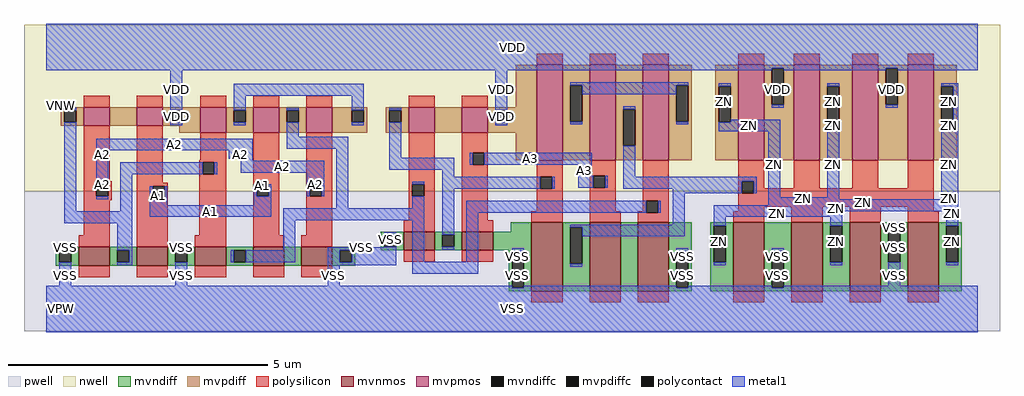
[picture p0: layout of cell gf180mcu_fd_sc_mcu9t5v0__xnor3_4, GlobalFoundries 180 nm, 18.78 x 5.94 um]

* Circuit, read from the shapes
.subckt gf180mcu_fd_sc_mcu9t5v0__xnor3_4 A1 A2 A3 ZN VDD VNW VPW VSS
XM1 n1 A2 VSS VPW nfet_06v0 w=0.36u l=0.6u
XM2 VSS A1 n1 VPW nfet_06v0 w=0.36u l=0.6u
XM3 n2 n1 VSS VPW nfet_06v0 w=0.36u l=0.6u
XM4 n3 A1 n2 VPW nfet_06v0 w=0.36u l=0.6u
XM5 VSS A2 n3 VPW nfet_06v0 w=0.36u l=0.6u
XM6 n4 n2 VSS VPW nfet_06v0 w=0.36u l=0.6u
XM7 VSS A3 n4 VPW nfet_06v0 w=0.36u l=0.6u
XM8 n5 n4 VSS VPW nfet_06v0 w=1.32u l=0.6u
XM9 n6 A3 n5 VPW nfet_06v0 w=1.32u l=0.6u
XM10 VSS n2 n6 VPW nfet_06v0 w=1.32u l=0.6u
XM11 VSS n5 ZN VPW nfet_06v0 w=1.32u l=0.6u m=4
XM12 n7 A2 n1 VNW pfet_06v0 w=0.36u l=0.5u
XM13 VDD A1 n7 VNW pfet_06v0 w=0.36u l=0.5u
XM14 n8 n1 VDD VNW pfet_06v0 w=0.495u l=0.5u
XM15 n2 A1 n8 VNW pfet_06v0 w=0.495u l=0.5u
XM16 n8 A2 n2 VNW pfet_06v0 w=0.495u l=0.5u
XM17 n9 n2 n4 VNW pfet_06v0 w=0.495u l=0.5u
XM18 VDD A3 n9 VNW pfet_06v0 w=0.495u l=0.5u
XM19 n10 n4 VDD VNW pfet_06v0 w=1.83u l=0.5u
XM20 n5 A3 n10 VNW pfet_06v0 w=1.83u l=0.5u
XM21 n10 n2 n5 VNW pfet_06v0 w=1.83u l=0.5u
XM22 VDD n5 ZN VNW pfet_06v0 w=1.83u l=0.5u m=4
.ends

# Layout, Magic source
magic
tech gf180mcuD
magscale 1 10
<< nwell >>
rect -86 453 3670 1094
<< pwell >>
rect -86 -86 3670 453
<< mvnmos >>
rect 124 167 244 239
rect 348 167 468 239
rect 572 167 692 239
rect 796 167 916 239
rect 980 167 1100 239
rect 1375 226 1495 298
rect 1599 226 1719 298
rect 1867 69 1987 333
rect 2091 69 2211 333
rect 2275 69 2395 333
rect 2643 69 2763 333
rect 2867 69 2987 333
rect 3091 69 3211 333
rect 3315 69 3435 333
<< mvpmos >>
rect 144 705 244 777
rect 348 705 448 777
rect 592 678 692 777
rect 796 678 896 777
rect 1000 678 1100 777
rect 1395 678 1495 777
rect 1599 678 1699 777
rect 1887 573 1987 939
rect 2091 573 2191 939
rect 2295 573 2395 939
rect 2663 573 2763 939
rect 2877 573 2977 939
rect 3101 573 3201 939
rect 3315 573 3415 939
<< mvndiff >>
rect 1787 298 1867 333
rect 1287 285 1375 298
rect 1287 239 1300 285
rect 1346 239 1375 285
rect 36 226 124 239
rect 36 180 49 226
rect 95 180 124 226
rect 36 167 124 180
rect 244 226 348 239
rect 244 180 273 226
rect 319 180 348 226
rect 244 167 348 180
rect 468 226 572 239
rect 468 180 497 226
rect 543 180 572 226
rect 468 167 572 180
rect 692 226 796 239
rect 692 180 721 226
rect 767 180 796 226
rect 692 167 796 180
rect 916 167 980 239
rect 1100 226 1188 239
rect 1287 226 1375 239
rect 1495 285 1599 298
rect 1495 239 1524 285
rect 1570 239 1599 285
rect 1495 226 1599 239
rect 1719 226 1867 298
rect 1100 180 1129 226
rect 1175 180 1188 226
rect 1779 222 1867 226
rect 1100 167 1188 180
rect 1779 82 1792 222
rect 1838 82 1867 222
rect 1779 69 1867 82
rect 1987 314 2091 333
rect 1987 174 2016 314
rect 2062 174 2091 314
rect 1987 69 2091 174
rect 2211 69 2275 333
rect 2395 222 2483 333
rect 2395 82 2424 222
rect 2470 82 2483 222
rect 2395 69 2483 82
rect 2555 320 2643 333
rect 2555 180 2568 320
rect 2614 180 2643 320
rect 2555 69 2643 180
rect 2763 222 2867 333
rect 2763 82 2792 222
rect 2838 82 2867 222
rect 2763 69 2867 82
rect 2987 320 3091 333
rect 2987 180 3016 320
rect 3062 180 3091 320
rect 2987 69 3091 180
rect 3211 320 3315 333
rect 3211 180 3240 320
rect 3286 180 3315 320
rect 3211 69 3315 180
rect 3435 320 3523 333
rect 3435 180 3464 320
rect 3510 180 3523 320
rect 3435 69 3523 180
<< mvpdiff >>
rect 1807 777 1887 939
rect 56 764 144 777
rect 56 718 69 764
rect 115 718 144 764
rect 56 705 144 718
rect 244 705 348 777
rect 448 764 592 777
rect 448 718 477 764
rect 523 718 592 764
rect 448 705 592 718
rect 512 678 592 705
rect 692 764 796 777
rect 692 718 721 764
rect 767 718 796 764
rect 692 678 796 718
rect 896 764 1000 777
rect 896 718 925 764
rect 971 718 1000 764
rect 896 678 1000 718
rect 1100 764 1235 777
rect 1100 718 1176 764
rect 1222 718 1235 764
rect 1100 678 1235 718
rect 1307 764 1395 777
rect 1307 718 1320 764
rect 1366 718 1395 764
rect 1307 678 1395 718
rect 1495 678 1599 777
rect 1699 764 1887 777
rect 1699 718 1728 764
rect 1774 718 1887 764
rect 1699 678 1887 718
rect 1807 573 1887 678
rect 1987 861 2091 939
rect 1987 721 2016 861
rect 2062 721 2091 861
rect 1987 573 2091 721
rect 2191 769 2295 939
rect 2191 629 2220 769
rect 2266 629 2295 769
rect 2191 573 2295 629
rect 2395 861 2483 939
rect 2395 721 2424 861
rect 2470 721 2483 861
rect 2395 573 2483 721
rect 2575 858 2663 939
rect 2575 718 2588 858
rect 2634 718 2663 858
rect 2575 573 2663 718
rect 2763 926 2877 939
rect 2763 786 2792 926
rect 2838 786 2877 926
rect 2763 573 2877 786
rect 2977 858 3101 939
rect 2977 718 3006 858
rect 3052 718 3101 858
rect 2977 573 3101 718
rect 3201 926 3315 939
rect 3201 786 3230 926
rect 3276 786 3315 926
rect 3201 573 3315 786
rect 3415 858 3503 939
rect 3415 718 3444 858
rect 3490 718 3503 858
rect 3415 573 3503 718
<< mvndiffc >>
rect 1300 239 1346 285
rect 49 180 95 226
rect 273 180 319 226
rect 497 180 543 226
rect 721 180 767 226
rect 1524 239 1570 285
rect 1129 180 1175 226
rect 1792 82 1838 222
rect 2016 174 2062 314
rect 2424 82 2470 222
rect 2568 180 2614 320
rect 2792 82 2838 222
rect 3016 180 3062 320
rect 3240 180 3286 320
rect 3464 180 3510 320
<< mvpdiffc >>
rect 69 718 115 764
rect 477 718 523 764
rect 721 718 767 764
rect 925 718 971 764
rect 1176 718 1222 764
rect 1320 718 1366 764
rect 1728 718 1774 764
rect 2016 721 2062 861
rect 2220 629 2266 769
rect 2424 721 2470 861
rect 2588 718 2634 858
rect 2792 786 2838 926
rect 3006 718 3052 858
rect 3230 786 3276 926
rect 3444 718 3490 858
<< polysilicon >>
rect 1887 939 1987 983
rect 2091 939 2191 983
rect 2295 939 2395 983
rect 2663 939 2763 983
rect 2877 939 2977 983
rect 3101 939 3201 983
rect 3315 939 3415 983
rect 144 777 244 821
rect 348 777 448 821
rect 592 777 692 821
rect 796 777 896 821
rect 1000 777 1100 821
rect 1395 777 1495 821
rect 1599 777 1699 821
rect 144 491 244 705
rect 144 479 251 491
rect 144 433 192 479
rect 238 433 251 479
rect 144 419 251 433
rect 348 485 448 705
rect 592 573 692 678
rect 588 564 692 573
rect 588 518 601 564
rect 647 518 692 564
rect 348 472 468 485
rect 348 426 409 472
rect 455 426 468 472
rect 144 283 244 419
rect 124 239 244 283
rect 348 239 468 426
rect 588 283 692 518
rect 572 239 692 283
rect 796 479 896 678
rect 796 433 809 479
rect 855 433 896 479
rect 796 283 896 433
rect 1000 479 1100 678
rect 1000 433 1013 479
rect 1059 433 1100 479
rect 1000 283 1100 433
rect 1395 479 1495 678
rect 1395 433 1408 479
rect 1454 433 1495 479
rect 1395 342 1495 433
rect 1375 298 1495 342
rect 1599 601 1699 678
rect 1599 555 1640 601
rect 1686 555 1699 601
rect 1599 342 1699 555
rect 1887 509 1987 573
rect 1887 463 1900 509
rect 1946 463 1987 509
rect 1887 377 1987 463
rect 1599 298 1719 342
rect 1867 333 1987 377
rect 2091 512 2191 573
rect 2091 466 2104 512
rect 2150 466 2191 512
rect 2091 377 2191 466
rect 2295 417 2395 573
rect 2295 377 2308 417
rect 2091 333 2211 377
rect 2275 371 2308 377
rect 2354 371 2395 417
rect 2663 492 2763 573
rect 2663 446 2676 492
rect 2722 465 2763 492
rect 2877 465 2977 573
rect 3101 465 3201 573
rect 3315 465 3415 573
rect 2722 446 3415 465
rect 2663 393 3415 446
rect 2663 377 2763 393
rect 2275 333 2395 371
rect 2643 333 2763 377
rect 2867 333 2987 393
rect 3091 333 3211 393
rect 3315 377 3415 393
rect 3315 333 3435 377
rect 796 239 916 283
rect 980 239 1100 283
rect 1375 182 1495 226
rect 1599 182 1719 226
rect 124 123 244 167
rect 348 123 468 167
rect 572 123 692 167
rect 796 123 916 167
rect 980 123 1100 167
rect 1867 25 1987 69
rect 2091 25 2211 69
rect 2275 25 2395 69
rect 2643 25 2763 69
rect 2867 25 2987 69
rect 3091 25 3211 69
rect 3315 25 3435 69
<< polycontact >>
rect 192 433 238 479
rect 601 518 647 564
rect 409 426 455 472
rect 809 433 855 479
rect 1013 433 1059 479
rect 1408 433 1454 479
rect 1640 555 1686 601
rect 1900 463 1946 509
rect 2104 466 2150 512
rect 2308 371 2354 417
rect 2676 446 2722 492
<< metal1 >>
rect 0 926 3584 1098
rect 0 918 2792 926
rect 69 764 115 775
rect 69 376 115 718
rect 477 764 523 918
rect 477 707 523 718
rect 721 821 1222 867
rect 721 764 767 821
rect 721 707 767 718
rect 925 764 971 775
rect 925 663 971 718
rect 1176 764 1222 821
rect 1176 707 1222 718
rect 1320 764 1366 775
rect 192 610 794 656
rect 925 617 1162 663
rect 192 479 238 610
rect 702 578 794 610
rect 748 571 794 578
rect 192 422 238 433
rect 284 518 601 564
rect 647 518 658 564
rect 748 525 1070 571
rect 284 376 330 518
rect 1002 479 1070 525
rect 69 330 330 376
rect 398 426 409 472
rect 455 426 466 472
rect 398 400 466 426
rect 798 433 809 479
rect 855 433 866 479
rect 1002 433 1013 479
rect 1059 433 1070 479
rect 798 400 866 433
rect 398 354 866 400
rect 1116 388 1162 617
rect 1320 582 1366 718
rect 1728 764 1774 918
rect 1728 707 1774 718
rect 2016 861 2470 872
rect 2062 826 2424 861
rect 2016 710 2062 721
rect 2220 769 2266 780
rect 2424 710 2470 721
rect 2588 858 2634 869
rect 2838 918 3230 926
rect 2792 775 2838 786
rect 3006 858 3052 869
rect 2634 718 2825 729
rect 2588 683 2825 718
rect 1320 536 1570 582
rect 1629 555 1640 601
rect 1686 555 2098 601
rect 1524 509 1570 536
rect 2046 512 2098 555
rect 1408 479 1454 490
rect 1408 388 1454 433
rect 1116 387 1454 388
rect 49 226 95 237
rect 49 90 95 180
rect 273 226 330 330
rect 912 342 1454 387
rect 912 341 1126 342
rect 319 180 330 226
rect 273 169 330 180
rect 497 226 543 237
rect 912 226 958 341
rect 1300 285 1346 296
rect 1300 237 1346 239
rect 710 180 721 226
rect 767 180 958 226
rect 1083 226 1346 237
rect 1083 180 1129 226
rect 1175 180 1346 226
rect 497 90 543 180
rect 1083 169 1346 180
rect 1408 182 1454 342
rect 1524 463 1900 509
rect 1946 463 1957 509
rect 2046 466 2104 512
rect 2150 466 2161 512
rect 2220 509 2266 629
rect 2220 492 2733 509
rect 2220 463 2676 492
rect 1524 285 1570 463
rect 2411 446 2676 463
rect 2722 446 2733 492
rect 1524 228 1570 239
rect 1616 371 2308 417
rect 2354 371 2365 417
rect 1616 182 1662 371
rect 2411 325 2457 446
rect 2779 430 2825 683
rect 3276 918 3584 926
rect 3230 775 3276 786
rect 3444 858 3510 869
rect 3006 430 3052 718
rect 2779 423 3052 430
rect 3490 718 3510 858
rect 3444 423 3510 718
rect 2779 400 3510 423
rect 2016 314 2457 325
rect 1083 90 1129 169
rect 1408 136 1662 182
rect 1792 222 1838 233
rect 0 82 1792 90
rect 2062 279 2457 314
rect 2568 377 3510 400
rect 2568 354 3062 377
rect 2568 320 2614 354
rect 2016 163 2062 174
rect 2424 222 2470 233
rect 1838 82 2424 90
rect 3016 320 3062 354
rect 2568 169 2614 180
rect 2792 222 2838 233
rect 2470 82 2792 90
rect 3016 169 3062 180
rect 3240 320 3286 331
rect 3240 90 3286 180
rect 3464 320 3510 377
rect 3464 169 3510 180
rect 2838 82 3584 90
rect 0 -90 3584 82
<< labels >>
flabel metal1 s 798 472 866 479 0 FreeSans 200 0 0 0 A1
port 1 nsew default input
flabel metal1 s 192 610 794 656 0 FreeSans 200 0 0 0 A2
port 2 nsew default input
flabel metal1 s 1629 555 2098 601 0 FreeSans 200 0 0 0 A3
port 3 nsew default input
flabel metal1 s 0 918 3584 1098 0 FreeSans 200 0 0 0 VDD
port 5 nsew power bidirectional abutment
flabel metal1 s 3240 296 3286 331 0 FreeSans 200 0 0 0 VSS
port 8 nsew ground bidirectional abutment
flabel metal1 s 3444 729 3510 869 0 FreeSans 200 0 0 0 ZN
port 4 nsew default output
flabel nwell s 10 734 110 834 0 FreeSans 400 0 0 0 VNW
port 6 nsew power bidirectional
flabel pwell s 10 -50 110 50 0 FreeSans 400 0 0 0 VPW
port 7 nsew ground bidirectional
rlabel metal1 s 798 400 866 472 1 A1
port 1 nsew default input
rlabel metal1 s 398 400 466 472 1 A1
port 1 nsew default input
rlabel metal1 s 398 354 866 400 1 A1
port 1 nsew default input
rlabel metal1 s 702 578 794 610 1 A2
port 2 nsew default input
rlabel metal1 s 192 578 238 610 1 A2
port 2 nsew default input
rlabel metal1 s 748 571 794 578 1 A2
port 2 nsew default input
rlabel metal1 s 192 571 238 578 1 A2
port 2 nsew default input
rlabel metal1 s 748 525 1070 571 1 A2
port 2 nsew default input
rlabel metal1 s 192 525 238 571 1 A2
port 2 nsew default input
rlabel metal1 s 1002 433 1070 525 1 A2
port 2 nsew default input
rlabel metal1 s 192 433 238 525 1 A2
port 2 nsew default input
rlabel metal1 s 192 422 238 433 1 A2
port 2 nsew default input
rlabel metal1 s 2046 512 2098 555 1 A3
port 3 nsew default input
rlabel metal1 s 2046 466 2161 512 1 A3
port 3 nsew default input
rlabel metal1 s 3006 729 3052 869 1 ZN
port 4 nsew default output
rlabel metal1 s 2588 729 2634 869 1 ZN
port 4 nsew default output
rlabel metal1 s 3444 683 3510 729 1 ZN
port 4 nsew default output
rlabel metal1 s 3006 683 3052 729 1 ZN
port 4 nsew default output
rlabel metal1 s 2588 683 2825 729 1 ZN
port 4 nsew default output
rlabel metal1 s 3444 430 3510 683 1 ZN
port 4 nsew default output
rlabel metal1 s 3006 430 3052 683 1 ZN
port 4 nsew default output
rlabel metal1 s 2779 430 2825 683 1 ZN
port 4 nsew default output
rlabel metal1 s 3444 423 3510 430 1 ZN
port 4 nsew default output
rlabel metal1 s 2779 423 3052 430 1 ZN
port 4 nsew default output
rlabel metal1 s 2779 400 3510 423 1 ZN
port 4 nsew default output
rlabel metal1 s 2568 377 3510 400 1 ZN
port 4 nsew default output
rlabel metal1 s 3464 354 3510 377 1 ZN
port 4 nsew default output
rlabel metal1 s 2568 354 3062 377 1 ZN
port 4 nsew default output
rlabel metal1 s 3464 169 3510 354 1 ZN
port 4 nsew default output
rlabel metal1 s 3016 169 3062 354 1 ZN
port 4 nsew default output
rlabel metal1 s 2568 169 2614 354 1 ZN
port 4 nsew default output
rlabel metal1 s 3230 775 3276 918 1 VDD
port 5 nsew power bidirectional abutment
rlabel metal1 s 2792 775 2838 918 1 VDD
port 5 nsew power bidirectional abutment
rlabel metal1 s 1728 775 1774 918 1 VDD
port 5 nsew power bidirectional abutment
rlabel metal1 s 477 775 523 918 1 VDD
port 5 nsew power bidirectional abutment
rlabel metal1 s 1728 707 1774 775 1 VDD
port 5 nsew power bidirectional abutment
rlabel metal1 s 477 707 523 775 1 VDD
port 5 nsew power bidirectional abutment
rlabel metal1 s 3240 237 3286 296 1 VSS
port 8 nsew ground bidirectional abutment
rlabel metal1 s 1300 237 1346 296 1 VSS
port 8 nsew ground bidirectional abutment
rlabel metal1 s 3240 233 3286 237 1 VSS
port 8 nsew ground bidirectional abutment
rlabel metal1 s 1083 233 1346 237 1 VSS
port 8 nsew ground bidirectional abutment
rlabel metal1 s 497 233 543 237 1 VSS
port 8 nsew ground bidirectional abutment
rlabel metal1 s 49 233 95 237 1 VSS
port 8 nsew ground bidirectional abutment
rlabel metal1 s 3240 169 3286 233 1 VSS
port 8 nsew ground bidirectional abutment
rlabel metal1 s 2792 169 2838 233 1 VSS
port 8 nsew ground bidirectional abutment
rlabel metal1 s 2424 169 2470 233 1 VSS
port 8 nsew ground bidirectional abutment
rlabel metal1 s 1792 169 1838 233 1 VSS
port 8 nsew ground bidirectional abutment
rlabel metal1 s 1083 169 1346 233 1 VSS
port 8 nsew ground bidirectional abutment
rlabel metal1 s 497 169 543 233 1 VSS
port 8 nsew ground bidirectional abutment
rlabel metal1 s 49 169 95 233 1 VSS
port 8 nsew ground bidirectional abutment
rlabel metal1 s 3240 90 3286 169 1 VSS
port 8 nsew ground bidirectional abutment
rlabel metal1 s 2792 90 2838 169 1 VSS
port 8 nsew ground bidirectional abutment
rlabel metal1 s 2424 90 2470 169 1 VSS
port 8 nsew ground bidirectional abutment
rlabel metal1 s 1792 90 1838 169 1 VSS
port 8 nsew ground bidirectional abutment
rlabel metal1 s 1083 90 1129 169 1 VSS
port 8 nsew ground bidirectional abutment
rlabel metal1 s 497 90 543 169 1 VSS
port 8 nsew ground bidirectional abutment
rlabel metal1 s 49 90 95 169 1 VSS
port 8 nsew ground bidirectional abutment
rlabel metal1 s 0 -90 3584 90 1 VSS
port 8 nsew ground bidirectional abutment
<< properties >>
string FIXED_BBOX 0 0 3584 1008
string GDS_END 483426
string GDS_FILE $PDKPATH/libs.ref/gf180mcu_fd_sc_mcu9t5v0/gds/gf180mcu_fd_sc_mcu9t5v0.gds
string GDS_START 474960
string LEFclass core
string LEFsite GF018hv5v_green_sc9
string LEFsymmetry X Y
<< end >>
